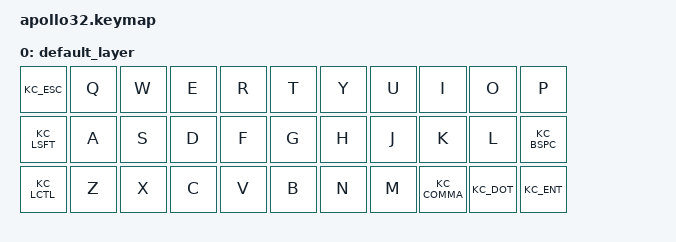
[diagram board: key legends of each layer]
/*
 * Copyright (c) 2020 The ZMK Contributors
 *
 * SPDX-License-Identifier: MIT
 */

#include <behaviors.dtsi>
#include <dt-bindings/zmk/keys.h>
#include <dt-bindings/zmk/bt.h>

/ {
    behaviors {
        ht: hold_tap {
            compatible = "zmk,behavior-hold-tap";
            #binding-cells = <2>;
            tapping-term-ms = <200>;
            flavor = "tap-preferred";
            bindings = <&kp>, <&kp>;
        };
    };

    keymap {
        compatible = "zmk,keymap";

        default_layer {
    bindings = <
        &kp KC_ESC  &kp Q     &kp W     &kp E     &kp R     &kp T     &kp Y     &kp U     &kp I     &kp O     &kp P
        &kp KC_LSFT &kp A     &kp S     &kp D     &kp F     &kp G     &kp H     &kp J     &kp K     &kp L     &kp KC_BSPC
        &kp KC_LCTL &kp Z     &kp X     &kp C     &kp V     &kp B     &kp N     &kp M     &kp KC_COMMA &kp KC_DOT &kp KC_ENT
        >;
    ;


        function_layer {
            bindings = <
&kp GRAVE &kp N1   &kp N2    &kp N3 &kp N4 &kp N5 &kp N6   &kp N7   &kp N8    &kp N9    &kp N0   &kp MINUS &kp DEL
&none     &kp HOME &kp PG_UP &trans &trans &trans &kp LBKT &kp RBKT &kp EQUAL &kp BSLH  &kp FSLH           &trans
&trans    &kp END  &kp PG_DN &trans &trans &trans &trans   &trans   &trans    &kp UP                       &trans
&trans    &trans   &trans    &trans                        &trans   &trans    &kp LEFT  &kp DOWN           &kp RIGHT
            >;
        };

        other_layer {
            bindings = <
&kp PRINTSCREEN &kp F1     &kp F2     &kp F3     &kp F4 &kp F5 &kp F6 &kp F7 &kp F8       &kp F9       &kp F10  &kp F11 &kp F12
&trans          &trans     &trans     &trans     &trans &trans &trans &trans &trans       &trans       &trans           &trans
&trans          &bt BT_CLR &bt BT_PRV &bt BT_NXT &trans &trans &trans &trans &bootloader  &sys_reset                        &trans
&trans          &trans     &trans     &trans                          &trans &kp C_VOL_UP &kp C_VOL_DN                  &kp C_PP
            >;
        };

    };
};
